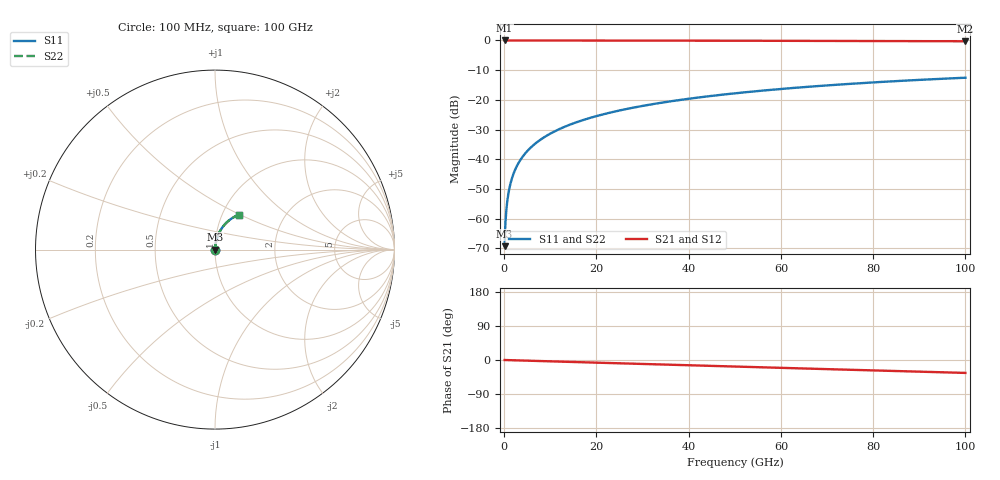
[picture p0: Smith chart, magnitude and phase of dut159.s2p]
! Touchstone file exported from HFSS 2026.1.0
!  File:  C:/ffzhzh/LocalFiles/Ansys_Project_Files/temp_train_TSV_159_1783506759_9504.aedt
!  Generated:  06:34:00 PM Jul  8, 2026
!  Design:  TSV
!  Project:  temp_train_TSV_159_1783506759_9504
! Variables:
!  h_bsmrdl = 2um
!  h_ox = 20um
!  h_rdl = 5um
!  h_sub = 56.09um
!  h_tmrdl = 5um
!  h_tsv = 56.09um
!  h_via = 3um
!  l_bsmrdl = 300um
!  l_sub = 413.86um
!  l_tmrdl = 200um
!  m_sub = 200um
!  pitch = 51.54um
!  r_tsv = 6.93um
!  s_tmrdl = 10um
!  w_bsmrdl = 18um
!  w_sub = 500um
!  w_tmrdl = 12um
!  x_tsv_center1 = 206um
!  x_tsv_center2 = 524um
!  x_tsv_center3 = 736um
!  x_tsv_center4 = 1054um
!  x_tsv_center5 = 1266um
!  x_tsv_center6 = 1584um
# GHz S MA R 50.000000
! Terminal data exported
! Port[1] = TSV1_1_T1
! Port[2] = TSV1_1_T2
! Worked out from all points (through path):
!   1000 points, 100 MHz to 100 GHz, reference 50 ohm
!   highest |S21| = 0.00 dB at 100 MHz (marker M1); lowest = -0.3 dB at 100 GHz (marker M2)
!   group delay of S21, straight-line fit = 947 fs
!   lowest |S11| = -69.3 dB at 100 MHz (marker M3), VSWR 1.00, Z = 50 + j0.03 ohm
!   |S11| at or under -10 dB: start of sweep to end of sweep
!   |S22| runs from -69.3 to -12.5 dB; largest |S21 - S12| = 4.1e-15
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0.1  0.0003443 60.7  0.9998 -0.0  0.9998 -0.0  0.0003443 60.7
! Gamma 0 0 0 0
! Port Impedance 50 0 50 0
0.3  0.0009012 77.6  0.9998 -0.1  0.9998 -0.1  0.0009012 77.6
0.7  0.002023 83.2  0.9998 -0.3  0.9998 -0.3  0.002023 83.2
0.8  0.002303 83.8  0.9998 -0.3  0.9998 -0.3  0.002303 83.8
1  0.002863 84.5  0.9997 -0.4  0.9997 -0.4  0.002863 84.5
1.3  0.0037 85.1  0.9997 -0.5  0.9997 -0.5  0.0037 85.1
1.7  0.004806 85.5  0.9997 -0.6  0.9997 -0.6  0.004806 85.5
2.3  0.006448 85.7  0.9996 -0.8  0.9996 -0.8  0.006448 85.7
3  0.008343 85.8  0.9995 -1.1  0.9995 -1.1  0.008343 85.8
3.8  0.01049 85.8  0.9994 -1.3  0.9994 -1.3  0.01049 85.8
4.8  0.01317 85.7  0.9993 -1.7  0.9993 -1.7  0.01317 85.7
6  0.01637 85.6  0.9992 -2.1  0.9992 -2.1  0.01637 85.6
8.8  0.02381 85.0  0.9989 -3.1  0.9989 -3.1  0.02381 85.0
12.4  0.03333 84.0  0.9985 -4.4  0.9985 -4.4  0.03333 84.0
16.8  0.04489 82.7  0.9979 -5.9  0.9979 -5.9  0.04489 82.7
24.2  0.06416 80.3  0.9966 -8.5  0.9966 -8.5  0.06416 80.4
33.4  0.08772 77.3  0.9946 -11.6  0.9946 -11.6  0.08772 77.3
41.2  0.1073 74.8  0.9925 -14.3  0.9925 -14.3  0.1073 74.8
50.1  0.129 71.8  0.9897 -17.4  0.9897 -17.4  0.129 71.8
66.7  0.1677 66.3  0.9837 -23.0  0.9837 -23.0  0.1677 66.3
83.4  0.2036 60.8  0.9766 -28.6  0.9766 -28.6  0.2036 60.8
100  0.2359 55.3  0.9691 -34.1  0.9691 -34.1  0.2359 55.4
